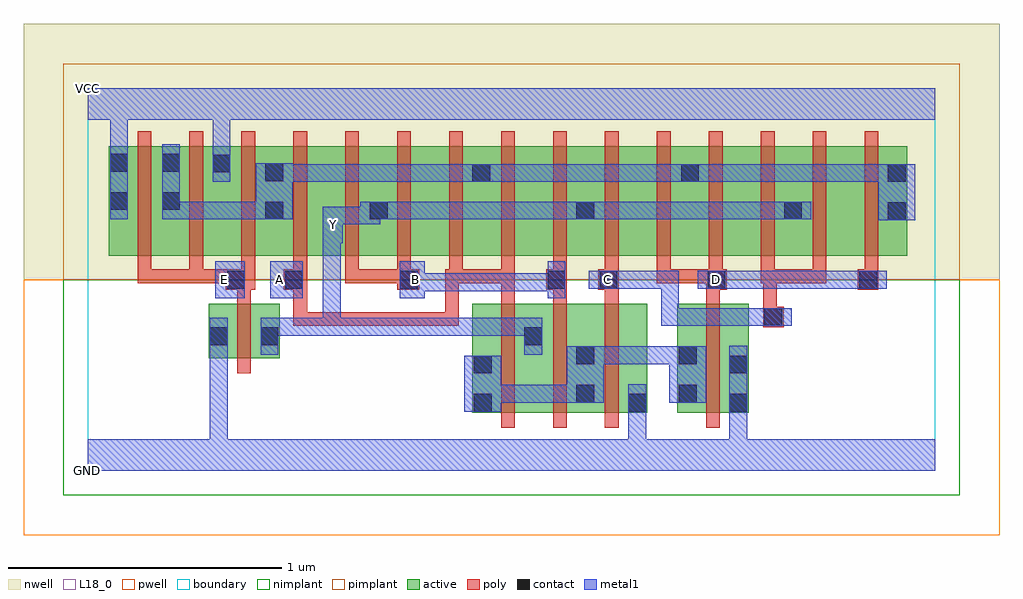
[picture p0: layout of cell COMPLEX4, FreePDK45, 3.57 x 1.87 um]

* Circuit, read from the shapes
.subckt COMPLEX4 A B C D E GND VCC Y
M1 Y E GND VSUBS nfet w=0.2u l=0.05u
M2 Y A n1 VSUBS nfet w=0.4u l=0.05u
M3 n1 B Y VSUBS nfet w=0.4u l=0.05u
M4 GND C n1 VSUBS nfet w=0.4u l=0.05u
M5 GND D n1 VSUBS nfet w=0.4u l=0.05u
M6 n2 E VCC n3 pfet w=0.4u l=0.05u m=3
M7 n4 A n2 n3 pfet w=0.4u l=0.05u
M8 Y B n4 n3 pfet w=0.4u l=0.05u
M9 n5 B Y n3 pfet w=0.4u l=0.05u
M10 n2 A n5 n3 pfet w=0.4u l=0.05u
M11 n6 A n2 n3 pfet w=0.4u l=0.05u
M12 Y B n6 n3 pfet w=0.4u l=0.05u
M13 n7 C Y n3 pfet w=0.4u l=0.05u
M14 n2 D n7 n3 pfet w=0.4u l=0.05u
M15 n8 D n2 n3 pfet w=0.4u l=0.05u
M16 Y C n8 n3 pfet w=0.4u l=0.05u
M17 n9 C Y n3 pfet w=0.4u l=0.05u
M18 n2 D n9 n3 pfet w=0.4u l=0.05u
.ends

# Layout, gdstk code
import gdstk
lib = gdstk.Library(unit=1e-6, precision=1e-09)
def R(c, l, rs):  # rectangles x0, y0, x1, y1
    for r in rs: c.add(gdstk.rectangle(r[:2], r[2:], *l))
def A(c, l, x, y, w, h, nx, ny, dx, dy):  # array of equal rectangles
    R(c, l, [(x+i*dx, y+j*dy, x+i*dx+w, y+j*dy+h) for i in range(nx) for j in range(ny)])
active = (1, 0)
pwell = (2, 0)
nwell = (3, 0)
nimplant = (4, 0)
pimplant = (5, 0)
poly = (9, 0)
contact = (10, 0)
metal1 = (11, 0)
L18_0 = (18, 0)
boundary = (235, 0)

complex4 = lib.new_cell('COMPLEX4')
A(complex4, active, 1.972, 0.212, 0.075, 0.4, 3, 1, 0.185, 0)
R(complex4, active, [(1.407,0.212,1.482,0.612), (1.407,0.212,1.667,0.612), (1.592,0.212,1.857,0.612), (1.782,0.212,2.047,0.612), (1.782,0.212,1.857,0.492), (2.157,0.212,2.417,0.612), (1.592,0.245,1.667,0.53), (0.442,0.412,0.702,0.612), (0.442,0.445,0.517,0.612), (0.627,0.445,0.702,0.612), (0.077,0.787,0.342,1.187), (0.077,0.787,0.152,1.165), (0.267,0.787,0.527,1.187), (0.452,0.787,0.72,1.187), (0.645,0.787,0.872,1.187), (0.872,0.787,1.102,1.187), (1.027,0.787,1.252,1.187), (1.027,0.787,1.102,1.07), (1.252,0.787,1.477,1.187), (1.402,0.787,1.632,1.187), (1.632,0.787,1.857,1.187), (1.782,0.787,2.012,1.187), (1.782,0.787,1.857,1.07), (2.012,0.787,2.24,1.187), (2.165,0.787,2.392,1.187), (2.392,0.787,2.617,1.187), (2.542,0.787,2.772,1.187), (2.542,0.787,2.617,1.07), (2.772,0.787,2.997,1.187), (2.922,0.787,2.997,1.155), (2.165,0.802,2.24,1.155), (0.267,0.907,0.342,1.187), (0.452,0.907,0.527,1.187), (0.645,0.907,0.72,1.155), (1.402,0.907,1.477,1.187)])
R(complex4, pwell, [(-0.235,-0.235,3.335,0.7)])
R(complex4, nwell, [(-0.235,0.7,3.335,1.635)])
R(complex4, nimplant, [(-0.09,-0.09,3.19,0.7)])
R(complex4, pimplant, [(-0.09,0.7,3.19,1.49)])
A(complex4, poly, 1.512, 0.157, 0.05, 0.51, 3, 1, 0.19, 0)
A(complex4, poly, 0.182, 0.687, 0.05, 0.095, 15, 1, 0.19, 0)
A(complex4, poly, 0.182, 0.732, 0.05, 0.51, 15, 1, 0.19, 0)
R(complex4, poly, [(2.262,0.157,2.312,0.667), (0.547,0.357,0.597,0.667), (2.47,0.525,2.545,0.6), (0.752,0.53,0.802,0.58), (0.752,0.53,0.802,0.58), (0.752,0.53,0.802,0.58), (0.752,0.53,0.802,0.58), (0.752,0.53,0.802,0.58), (0.752,0.53,0.992,0.58), (0.752,0.53,0.802,0.712), (0.942,0.53,0.992,0.58), (0.942,0.53,0.992,0.58), (0.942,0.53,0.992,0.58), (0.942,0.53,1.125,0.58), (1.075,0.53,1.125,0.58), (1.075,0.53,1.125,0.58), (1.075,0.53,1.125,0.58), (1.075,0.53,1.357,0.58), (1.307,0.53,1.357,0.58), (1.307,0.53,1.357,0.737), (2.47,0.55,2.52,0.6), (2.47,0.55,2.52,0.6), (2.47,0.55,2.52,0.737), (0.547,0.617,0.597,0.712), (1.512,0.617,1.562,0.737), (1.702,0.617,1.752,0.712), (1.892,0.617,1.942,0.712), (2.262,0.617,2.312,0.712), (0.505,0.662,0.612,0.737), (0.717,0.662,0.802,0.737), (1.132,0.662,1.212,0.737), (1.677,0.662,1.752,0.737), (1.867,0.662,1.942,0.737), (2.262,0.662,2.337,0.737), (2.817,0.662,2.892,0.737), (0.182,0.687,0.232,0.737), (0.182,0.687,0.422,0.737), (0.372,0.687,0.422,0.737), (0.372,0.687,0.422,0.737), (0.372,0.687,0.422,0.737), (0.372,0.687,0.555,0.737), (0.505,0.687,0.555,0.737), (0.505,0.687,0.555,0.737), (0.942,0.687,0.992,0.737), (0.942,0.687,0.992,0.737), (0.942,0.687,0.992,0.737), (0.942,0.687,1.182,0.737), (1.307,0.687,1.357,0.737), (1.307,0.687,1.357,0.737), (1.307,0.687,1.372,0.737), (1.322,0.687,1.372,0.737), (1.322,0.687,1.372,0.737), (1.322,0.687,1.562,0.737), (1.512,0.687,1.562,0.737), (2.082,0.687,2.132,0.737), (2.082,0.687,2.312,0.737), (2.262,0.687,2.312,0.737), (2.262,0.687,2.312,0.737), (2.462,0.687,2.52,0.737), (2.47,0.687,2.702,0.737), (2.47,0.687,2.52,0.737), (2.47,0.687,2.52,0.737), (2.652,0.687,2.702,0.737)])
R(complex4, contact, [(1.412,0.217,1.477,0.282), (1.977,0.217,2.042,0.282), (2.347,0.217,2.412,0.282), (1.787,0.25,1.852,0.315), (2.162,0.25,2.227,0.315), (1.412,0.357,1.477,0.422), (2.347,0.357,2.412,0.422), (1.787,0.39,1.852,0.455), (2.162,0.39,2.227,0.455), (0.447,0.46,0.512,0.525), (0.632,0.46,0.697,0.525), (1.597,0.46,1.662,0.525), (2.475,0.53,2.54,0.595), (0.51,0.667,0.575,0.732), (0.722,0.667,0.787,0.732), (1.142,0.667,1.207,0.732), (1.682,0.667,1.747,0.732), (1.872,0.667,1.937,0.732), (2.267,0.667,2.332,0.732), (2.822,0.667,2.887,0.732), (2.927,0.917,2.992,0.982), (0.65,0.92,0.715,0.985), (1.032,0.92,1.097,0.985), (1.787,0.92,1.852,0.985), (2.547,0.92,2.612,0.985), (0.082,0.955,0.147,1.02), (0.272,0.955,0.337,1.02), (1.407,1.057,1.472,1.122), (2.17,1.057,2.235,1.122), (2.927,1.057,2.992,1.122), (0.65,1.06,0.715,1.125), (0.457,1.092,0.522,1.157), (0.082,1.095,0.147,1.16), (0.272,1.095,0.337,1.16)])
A(complex4, metal1, 2.205, 1.057, 0.202, 0.065, 3, 1, 0.275, 0)
R(complex4, metal1, [(0,0,3.1,0.115), (0.447,0.05,0.512,0.115), (0.447,0.05,0.512,0.115), (0.447,0.05,0.512,0.115), (0.447,0.05,0.512,0.115), (0.447,0.05,0.512,0.49), (1.977,0.05,2.042,0.115), (1.977,0.05,2.042,0.115), (1.977,0.05,2.042,0.247), (2.347,0.05,2.412,0.115), (2.347,0.05,2.412,0.115), (2.347,0.05,2.412,0.247), (1.977,0.182,2.042,0.317), (2.347,0.182,2.412,0.457), (1.377,0.217,1.512,0.422), (1.447,0.25,1.61,0.315), (1.545,0.25,1.61,0.315), (1.545,0.25,1.65,0.315), (1.585,0.25,1.65,0.315), (1.585,0.25,1.75,0.315), (1.685,0.25,1.75,0.315), (1.685,0.25,1.817,0.315), (1.752,0.25,1.887,0.455), (2.127,0.25,2.262,0.455), (1.822,0.39,1.887,0.455), (1.822,0.39,1.887,0.455), (1.822,0.39,2.025,0.455), (1.96,0.39,2.025,0.455), (1.96,0.39,2.125,0.455), (2.06,0.39,2.125,0.455), (2.06,0.39,2.192,0.455), (0.447,0.425,0.512,0.49), (0.447,0.425,0.512,0.49), (0.447,0.425,0.512,0.56), (0.632,0.425,0.697,0.56), (1.597,0.425,1.662,0.56), (0.632,0.495,0.697,0.56), (0.632,0.495,0.697,0.56), (0.632,0.495,0.925,0.56), (0.86,0.495,0.925,0.56), (0.86,0.495,0.925,0.56), (0.86,0.495,0.925,0.56), (0.86,0.495,1.132,0.56), (0.86,0.495,0.925,0.897), (1.067,0.495,1.132,0.56), (1.067,0.495,1.27,0.56), (1.205,0.495,1.27,0.56), (1.205,0.495,1.27,0.56), (1.205,0.495,1.27,0.56), (1.205,0.495,1.407,0.56), (1.342,0.495,1.407,0.56), (1.342,0.495,1.407,0.56), (1.342,0.495,1.407,0.56), (1.342,0.495,1.575,0.56), (1.51,0.495,1.575,0.56), (1.51,0.495,1.662,0.56), (2.097,0.53,2.162,0.595), (2.097,0.53,2.367,0.595), (2.097,0.53,2.162,0.732), (2.302,0.53,2.367,0.595), (2.302,0.53,2.407,0.595), (2.342,0.53,2.407,0.595), (2.342,0.53,2.407,0.595), (2.342,0.53,2.407,0.595), (2.342,0.53,2.505,0.595), (2.44,0.53,2.575,0.595), (0.467,0.632,0.575,0.767), (0.667,0.632,0.787,0.767), (1.142,0.632,1.232,0.767), (1.682,0.632,1.747,0.767), (1.167,0.657,1.27,0.722), (1.205,0.657,1.27,0.722), (1.205,0.657,1.407,0.722), (1.342,0.657,1.407,0.722), (1.342,0.657,1.407,0.722), (1.342,0.657,1.407,0.722), (1.342,0.657,1.61,0.722), (1.545,0.657,1.61,0.722), (1.545,0.657,1.65,0.722), (1.585,0.657,1.65,0.722), (1.585,0.657,1.747,0.722), (1.832,0.667,1.972,0.732), (1.907,0.667,2.025,0.732), (1.96,0.667,2.025,0.732), (1.96,0.667,2.132,0.732), (2.067,0.667,2.132,0.732), (2.067,0.667,2.162,0.732), (2.097,0.667,2.162,0.732), (2.232,0.667,2.367,0.732), (2.302,0.667,2.407,0.732), (2.342,0.667,2.407,0.732), (2.342,0.667,2.545,0.732), (2.48,0.667,2.545,0.732), (2.48,0.667,2.682,0.732), (2.617,0.667,2.682,0.732), (2.617,0.667,2.682,0.732), (2.617,0.667,2.682,0.732), (2.617,0.667,2.82,0.732), (2.755,0.667,2.82,0.732), (2.755,0.667,2.852,0.732), (2.787,0.667,2.922,0.732), (0.86,0.832,0.932,0.967), (0.867,0.902,1.07,0.967), (1.005,0.902,1.07,0.967), (1.005,0.902,1.07,0.967), (1.005,0.902,1.07,0.967), (1.005,0.902,1.07,0.985), (2.892,0.917,3.027,1.122), (0.082,0.92,0.147,1.195), (0.272,0.92,0.337,0.985), (0.272,0.92,0.337,0.985), (0.272,0.92,0.337,1.195), (0.272,0.92,0.512,0.985), (0.447,0.92,0.512,0.985), (0.447,0.92,0.512,0.985), (0.447,0.92,0.512,0.985), (0.447,0.92,0.68,0.985), (0.615,0.92,0.75,1.125), (0.997,0.92,1.132,0.985), (1.067,0.92,1.27,0.985), (1.205,0.92,1.27,0.985), (1.205,0.92,1.27,0.985), (1.205,0.92,1.27,0.985), (1.205,0.92,1.407,0.985), (1.342,0.92,1.407,0.985), (1.342,0.92,1.407,0.985), (1.342,0.92,1.407,0.985), (1.342,0.92,1.575,0.985), (1.51,0.92,1.575,0.985), (1.51,0.92,1.65,0.985), (1.585,0.92,1.65,0.985), (1.585,0.92,1.747,0.985), (1.682,0.92,1.747,0.985), (1.682,0.92,1.817,0.985), (1.752,0.92,1.887,0.985), (1.822,0.92,1.887,0.985), (1.822,0.92,1.887,0.985), (1.822,0.92,2.025,0.985), (1.96,0.92,2.025,0.985), (1.96,0.92,2.125,0.985), (2.06,0.92,2.125,0.985), (2.06,0.92,2.27,0.985), (2.205,0.92,2.27,0.985), (2.205,0.92,2.27,0.985), (2.205,0.92,2.27,0.985), (2.205,0.92,2.407,0.985), (2.342,0.92,2.407,0.985), (2.342,0.92,2.545,0.985), (2.48,0.92,2.545,0.985), (2.48,0.92,2.577,0.985), (2.512,0.92,2.647,0.985), (0.457,1.057,0.522,1.192), (0.685,1.057,0.75,1.122), (0.685,1.057,0.75,1.122), (0.685,1.057,0.887,1.122), (0.822,1.057,0.887,1.122), (0.822,1.057,0.887,1.122), (0.822,1.057,0.887,1.122), (0.822,1.057,1.07,1.122), (1.005,1.057,1.07,1.122), (1.005,1.057,1.07,1.122), (1.005,1.057,1.07,1.122), (1.005,1.057,1.27,1.122), (1.205,1.057,1.27,1.122), (1.205,1.057,1.27,1.122), (1.205,1.057,1.27,1.122), (1.205,1.057,1.437,1.122), (1.372,1.057,1.437,1.122), (1.372,1.057,1.437,1.122), (1.372,1.057,1.507,1.122), (1.442,1.057,1.61,1.122), (1.545,1.057,1.61,1.122), (1.545,1.057,1.65,1.122), (1.585,1.057,1.65,1.122), (1.585,1.057,1.75,1.122), (1.685,1.057,1.75,1.122), (1.685,1.057,1.787,1.122), (1.722,1.057,1.787,1.122), (1.722,1.057,1.987,1.122), (1.922,1.057,1.987,1.122), (1.922,1.057,2.025,1.122), (1.96,1.057,2.025,1.122), (1.96,1.057,2.132,1.122), (2.067,1.057,2.132,1.122), (2.067,1.057,2.2,1.122), (2.135,1.057,2.27,1.122), (2.205,1.057,2.27,1.122), (2.205,1.057,2.27,1.122), (2.342,1.057,2.407,1.122), (2.342,1.057,2.545,1.122), (2.48,1.057,2.545,1.122), (2.48,1.057,2.545,1.122), (2.48,1.057,2.545,1.122), (2.617,1.057,2.682,1.122), (2.617,1.057,2.82,1.122), (2.755,1.057,2.82,1.122), (2.755,1.057,2.82,1.122), (2.755,1.057,2.82,1.122), (2.892,1.057,2.957,1.122), (2.892,1.057,2.957,1.122), (0.457,1.127,0.522,1.35), (0.082,1.13,0.147,1.35), (0,1.285,3.1,1.4)])
R(complex4, L18_0, [(0,0,3.1,0.115), (0.447,0.05,0.512,0.115), (0.447,0.05,0.512,0.115), (0.447,0.05,0.512,0.115), (0.447,0.05,0.512,0.115), (0.447,0.05,0.512,0.49), (1.977,0.05,2.042,0.115), (1.977,0.05,2.042,0.115), (1.977,0.05,2.042,0.247), (2.347,0.05,2.412,0.115), (2.347,0.05,2.412,0.115), (2.347,0.05,2.412,0.247), (1.977,0.182,2.042,0.317), (2.347,0.182,2.412,0.457), (0.447,0.425,0.512,0.49), (0.447,0.425,0.512,0.49), (0.447,0.425,0.512,0.56), (0.632,0.425,0.697,0.56), (1.597,0.425,1.662,0.56), (0.632,0.495,0.697,0.56), (0.632,0.495,0.697,0.56), (0.632,0.495,0.925,0.56), (0.86,0.495,0.925,0.56), (0.86,0.495,0.925,0.56), (0.86,0.495,0.925,0.56), (0.86,0.495,0.925,0.897), (0.86,0.495,1.132,0.56), (1.067,0.495,1.132,0.56), (1.067,0.495,1.27,0.56), (1.205,0.495,1.27,0.56), (1.205,0.495,1.27,0.56), (1.205,0.495,1.27,0.56), (1.205,0.495,1.407,0.56), (1.342,0.495,1.407,0.56), (1.342,0.495,1.407,0.56), (1.342,0.495,1.407,0.56), (1.342,0.495,1.575,0.56), (1.51,0.495,1.575,0.56), (1.51,0.495,1.662,0.56), (2.097,0.53,2.162,0.595), (2.097,0.53,2.162,0.732), (2.097,0.53,2.367,0.595), (2.302,0.53,2.367,0.595), (2.302,0.53,2.407,0.595), (2.342,0.53,2.407,0.595), (2.342,0.53,2.407,0.595), (2.342,0.53,2.407,0.595), (2.342,0.53,2.505,0.595), (2.44,0.53,2.575,0.595), (0.467,0.632,0.575,0.767), (0.667,0.632,0.787,0.767), (1.142,0.632,1.232,0.767), (1.682,0.632,1.747,0.767), (1.167,0.657,1.27,0.722), (1.205,0.657,1.27,0.722), (1.205,0.657,1.407,0.722), (1.342,0.657,1.407,0.722), (1.342,0.657,1.407,0.722), (1.342,0.657,1.407,0.722), (1.342,0.657,1.61,0.722), (1.545,0.657,1.61,0.722), (1.545,0.657,1.65,0.722), (1.585,0.657,1.65,0.722), (1.585,0.657,1.747,0.722), (0.467,0.667,0.532,0.732), (0.667,0.667,0.732,0.732), (1.167,0.667,1.232,0.732), (1.832,0.667,1.972,0.732), (1.867,0.667,1.932,0.732), (1.907,0.667,2.025,0.732), (1.96,0.667,2.025,0.732), (1.96,0.667,2.132,0.732), (2.067,0.667,2.132,0.732), (2.067,0.667,2.162,0.732), (2.097,0.667,2.162,0.732), (2.232,0.667,2.367,0.732), (2.267,0.667,2.332,0.732), (2.302,0.667,2.407,0.732), (2.342,0.667,2.407,0.732), (2.342,0.667,2.545,0.732), (2.48,0.667,2.545,0.732), (2.48,0.667,2.682,0.732), (2.617,0.667,2.682,0.732), (2.617,0.667,2.682,0.732), (2.617,0.667,2.682,0.732), (2.617,0.667,2.82,0.732), (2.755,0.667,2.82,0.732), (2.755,0.667,2.852,0.732), (2.787,0.667,2.922,0.732), (0.86,0.832,0.932,0.967), (0.867,0.867,0.932,0.932), (0.867,0.902,1.07,0.967), (1.005,0.902,1.07,0.967), (1.005,0.902,1.07,0.967), (1.005,0.902,1.07,0.967), (1.005,0.902,1.07,0.985), (0.082,0.92,0.147,1.195), (0.997,0.92,1.132,0.985), (1.067,0.92,1.27,0.985), (1.205,0.92,1.27,0.985), (1.205,0.92,1.27,0.985), (1.205,0.92,1.27,0.985), (1.205,0.92,1.407,0.985), (1.342,0.92,1.407,0.985), (1.342,0.92,1.407,0.985), (1.342,0.92,1.407,0.985), (1.342,0.92,1.575,0.985), (1.51,0.92,1.575,0.985), (1.51,0.92,1.65,0.985), (1.585,0.92,1.65,0.985), (1.585,0.92,1.747,0.985), (1.682,0.92,1.747,0.985), (1.682,0.92,1.817,0.985), (1.752,0.92,1.887,0.985), (1.822,0.92,1.887,0.985), (1.822,0.92,1.887,0.985), (1.822,0.92,2.025,0.985), (1.96,0.92,2.025,0.985), (1.96,0.92,2.125,0.985), (2.06,0.92,2.125,0.985), (2.06,0.92,2.27,0.985), (2.205,0.92,2.27,0.985), (2.205,0.92,2.27,0.985), (2.205,0.92,2.27,0.985), (2.205,0.92,2.407,0.985), (2.342,0.92,2.407,0.985), (2.342,0.92,2.545,0.985), (2.48,0.92,2.545,0.985), (2.48,0.92,2.577,0.985), (2.512,0.92,2.647,0.985), (0.457,1.057,0.522,1.192), (0.457,1.127,0.522,1.35), (0.082,1.13,0.147,1.35), (0,1.285,3.1,1.4)])
R(complex4, boundary, [(0,0,3.1,1.4)])
complex4.add(gdstk.Label('A', (0.7,0.7), layer=11, texttype=0))
complex4.add(gdstk.Label('B', (1.2,0.7), layer=11, texttype=0))
complex4.add(gdstk.Label('C', (1.9,0.7), layer=11, texttype=0))
complex4.add(gdstk.Label('D', (2.3,0.7), layer=11, texttype=0))
complex4.add(gdstk.Label('E', (0.5,0.7), layer=11, texttype=0))
complex4.add(gdstk.Label('Y', (0.9,0.9), layer=11, texttype=0))
complex4.add(gdstk.Label('VCC', (0,1.4), layer=11, texttype=0))
complex4.add(gdstk.Label('GND', (0,0), layer=11, texttype=0))

lib.write_gds('COMPLEX4.gds')
